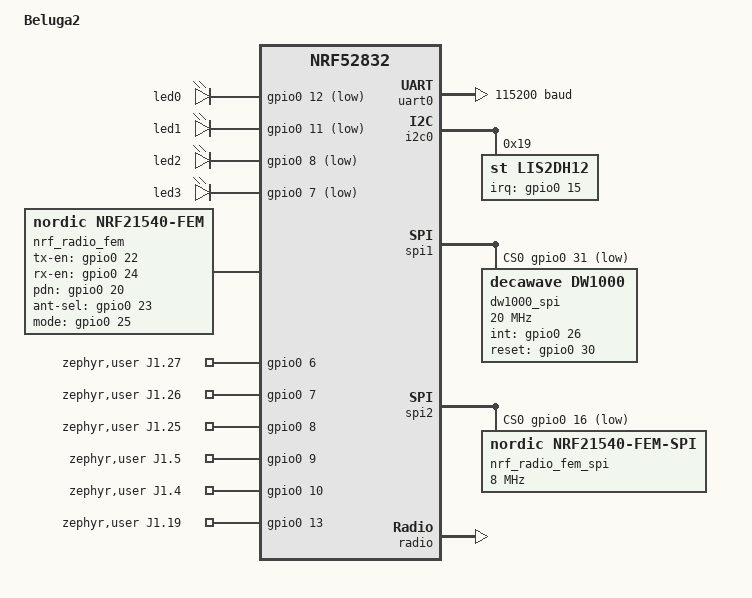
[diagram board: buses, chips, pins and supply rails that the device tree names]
// Copyright (c) 2024 Nordic Semiconductor ASA
// SPDX-License-Identifier: Apache-2.0

/dts-v1/;
#include <nordic/nrf52832_qfaa.dtsi>
#include "beluga2_nrf52832-pinctrl.dtsi"
#include <zephyr/dt-bindings/input/input-event-codes.h>

/ {
	model = "Beluga2";
	compatible = "wiselab,beluga2";

	chosen {
		zephyr,console = &uart0;
		zephyr,shell-uart = &uart0;
		zephyr,uart-mcumgr = &uart0;
		zephyr,bt-mon-uart = &uart0;
		zephyr,bt-c2h-uart = &uart0;
		zephyr,sram = &sram0;
		zephyr,flash = &flash0;
		zephyr,code-partition = &slot0_partition;
	};

	leds {
		compatible = "gpio-leds";
		led0 {
			label = "led0";
			gpios = <&gpio0 12 GPIO_ACTIVE_LOW>;
		};

		led1: led1 {
			gpios = <&gpio0 11 GPIO_ACTIVE_LOW>;
			label = "led1";
		};

		led2: led2 {
			gpios = <&gpio0 8 GPIO_ACTIVE_LOW>;
			label = "led2";
		};

		led3: led3 {
			gpios = <&gpio0 7 GPIO_ACTIVE_LOW>;
			label = "led3";
		};
	};

	nrf_radio_fem: nrf21540-fem {
		compatible = "nordic,nrf21540-fem";
		tx-en-gpios = <&gpio0 22 GPIO_ACTIVE_HIGH>;
		rx-en-gpios = <&gpio0 24 GPIO_ACTIVE_HIGH>;
		pdn-gpios = <&gpio0 20 GPIO_ACTIVE_HIGH>;
		ant-sel-gpios = <&gpio0 23 GPIO_ACTIVE_HIGH>;
		mode-gpios = <&gpio0 25 GPIO_ACTIVE_HIGH>;
		spi-if = <&nrf_radio_fem_spi>;
		supply-voltage-mv = <3300>;
	};

	zephyr,user {
		J1.27-gpios = <&gpio0 6 0>;
		J1.26-gpios = <&gpio0 7 0>;
		J1.25-gpios = <&gpio0 8 0>;
		J1.5-gpios = <&gpio0 9 0>;
		J1.4-gpios = <&gpio0 10 0>;
		J1.19-gpios = <&gpio0 13 0>;
	};
};

&gpiote {
	status = "okay";
};

&gpio0 {
	status = "okay";
};

&uart0 {
	compatible = "nordic,nrf-uarte";
	status = "okay";
	current-speed = <115200>;
	pinctrl-0 = <&uart0_default>;
	pinctrl-1 = <&uart0_sleep>;
	pinctrl-names = "default", "sleep";
};

&i2c0 {
	compatible = "nordic,nrftwi";
	status = "okay";
	pinctrl-0 = <&i2c0_default>;
	pinctrl-1 = <&i2c0_sleep>;
	pinctrl-names = "default", "sleep";
	lis2dh12: lis2dh12@19 {
		compatible = "st,lis2dh12";
		reg = <0x19>;
		label = "lis2dh12";
		anym-on-int1;
		status = "okay";
		irq-gpios = <&gpio0 15 GPIO_ACTIVE_HIGH>;
	};
};

&spi1 {
	compatible = "nordic,nrf-spi";
	status = "okay";
	cs-gpios = <&gpio0 31 (GPIO_PULL_UP | GPIO_ACTIVE_LOW)>;
	pinctrl-0 = <&spi1_default>;
	pinctrl-1 = <&spi1_sleep>;
	pinctrl-names = "default", "sleep";

	dw1000_spi: dw1000@0 {
		compatible = "decawave,dw1000";
		reg = <0x0>;
		int-gpios = <&gpio0 26 0>;
		reset-gpios = <&gpio0 30 0>;
		spi-max-frequency = <20000000>;
	};
};

&spi2 {
	compatible = "nordic,nrf-spi";
	status = "okay";
	cs-gpios = <&gpio0 16 (GPIO_PULL_UP | GPIO_ACTIVE_LOW)>;
	pinctrl-0 = <&spi2_default>;
	pinctrl-1 = <&spi2_sleep>;
	pinctrl-names = "default", "sleep";
	nrf_radio_fem_spi: nrf21540-fem-spi@0 {
		compatible = "nordic,nrf21540-fem-spi";
		reg = <0x0>;
		spi-max-frequency = <8000000>;
	};
};

&radio {
	fem = <&nrf_radio_fem>;
};

&flash0 {
	partitions {
		compatible = "fixed-partitions";
		#address-cells = <1>;
		#size-cells = <1>;

		boot_partition: partition@0 {
			label = "mcuboot";
			reg = <0x0 0xc000>;
		};
		slot0_partition: partition@c000 {
			label = "image-0";
			reg = <0xc000 0x32000>;
		};
		slot1_partition: partition@3e000 {
			label = "image-1";
			reg = <0x3e000 0x32000>;
		};
		scratch_partition: partition@70000 {
			label = "image-scratch";
			reg = <0x70000 0xa000>;
		};
		storage_partition: partition@7a000 {
			label = "storage";
			reg = <0x7a000 0x6000>;
		};
	};
};
